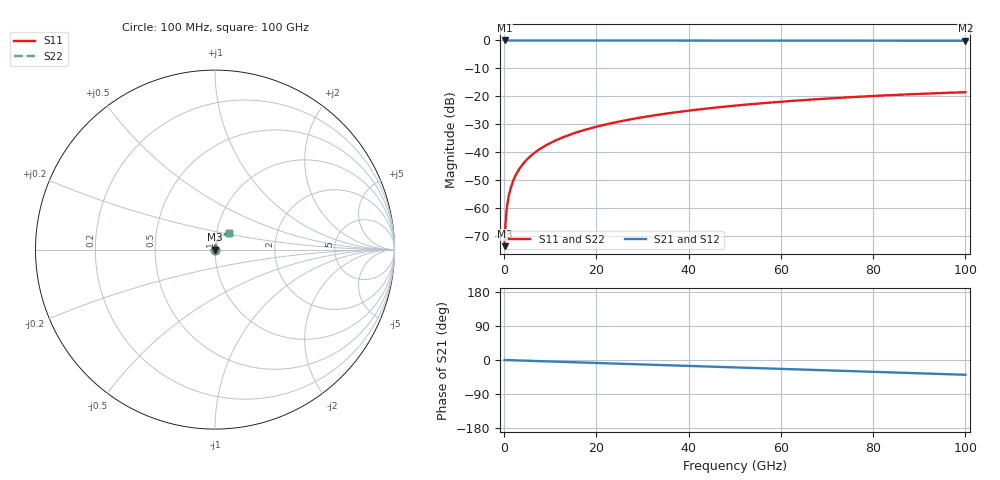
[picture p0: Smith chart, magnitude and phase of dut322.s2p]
! Touchstone file exported from HFSS 2026.1.0
!  File:  C:/ffzhzh/LocalFiles/Ansys_Project_Files/temp_train_TSV_322_1783509518_44152.aedt
!  Generated:  07:19:49 PM Jul  8, 2026
!  Design:  TSV
!  Project:  temp_train_TSV_322_1783509518_44152
! Variables:
!  h_bsmrdl = 2um
!  h_ox = 20um
!  h_rdl = 5um
!  h_sub = 72.65um
!  h_tmrdl = 5um
!  h_tsv = 72.65um
!  h_via = 3um
!  l_bsmrdl = 300um
!  l_sub = 421.14um
!  l_tmrdl = 200um
!  m_sub = 200um
!  pitch = 54.22um
!  r_tsv = 10.57um
!  s_tmrdl = 10um
!  w_bsmrdl = 18um
!  w_sub = 500um
!  w_tmrdl = 12um
!  x_tsv_center1 = 206um
!  x_tsv_center2 = 524um
!  x_tsv_center3 = 736um
!  x_tsv_center4 = 1054um
!  x_tsv_center5 = 1266um
!  x_tsv_center6 = 1584um
# GHz S MA R 50.000000
! Terminal data exported
! Port[1] = TSV1_1_T1
! Port[2] = TSV1_1_T2
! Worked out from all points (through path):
!   1000 points, 100 MHz to 100 GHz, reference 50 ohm
!   highest |S21| = 0.00 dB at 100 MHz (marker M1); lowest = -0.1 dB at 100 GHz (marker M2)
!   group delay of S21, straight-line fit = 1.08 ps
!   lowest |S11| = -73.5 dB at 100 MHz (marker M3), VSWR 1.00, Z = 50 + j0.0181 ohm
!   |S11| at or under -10 dB: start of sweep to end of sweep
!   |S22| runs from -73.5 to -18.5 dB; largest |S21 - S12| = 2.1e-15
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0.1  0.0002103 59.5  0.9999 -0.0  0.9999 -0.0  0.0002103 59.5
! Gamma 0 0 0 0
! Port Impedance 50 0 50 0
0.3  0.000549 75.8  0.9999 -0.1  0.9999 -0.1  0.000549 75.8
0.7  0.001194 79.8  0.9998 -0.3  0.9998 -0.3  0.001194 79.8
0.8  0.001348 80.2  0.9998 -0.3  0.9998 -0.3  0.001348 80.2
1  0.001653 81.0  0.9998 -0.4  0.9998 -0.4  0.001653 81.0
1.3  0.002104 81.8  0.9997 -0.5  0.9997 -0.5  0.002104 81.8
1.7  0.002702 82.5  0.9997 -0.7  0.9997 -0.7  0.002702 82.5
2.3  0.003592 83.2  0.9996 -0.9  0.9996 -0.9  0.003592 83.2
3  0.004621 83.5  0.9996 -1.2  0.9996 -1.2  0.004621 83.5
3.8  0.005786 83.7  0.9995 -1.5  0.9995 -1.5  0.005786 83.7
4.8  0.007233 83.8  0.9994 -1.9  0.9994 -1.9  0.007233 83.8
6  0.00896 83.8  0.9994 -2.4  0.9994 -2.4  0.00896 83.8
8.8  0.01297 83.3  0.9992 -3.5  0.9992 -3.5  0.01297 83.3
12.4  0.01807 82.3  0.999 -4.9  0.999 -4.9  0.01807 82.3
16.8  0.02425 81.0  0.9987 -6.6  0.9987 -6.6  0.02425 81.0
24.2  0.0345 78.5  0.9982 -9.5  0.9982 -9.5  0.0345 78.5
33.4  0.04695 75.2  0.9975 -13.1  0.9975 -13.1  0.04695 75.2
41.2  0.05718 72.3  0.9968 -16.1  0.9968 -16.1  0.05718 72.3
50.1  0.06841 69.0  0.9959 -19.6  0.9959 -19.6  0.06841 69.0
66.7  0.08784 62.7  0.9941 -26.0  0.9941 -26.0  0.08784 62.7
83.4  0.1049 56.4  0.9922 -32.5  0.9922 -32.5  0.1049 56.4
100  0.1189 50.1  0.9902 -39.0  0.9902 -39.0  0.1189 50.1
